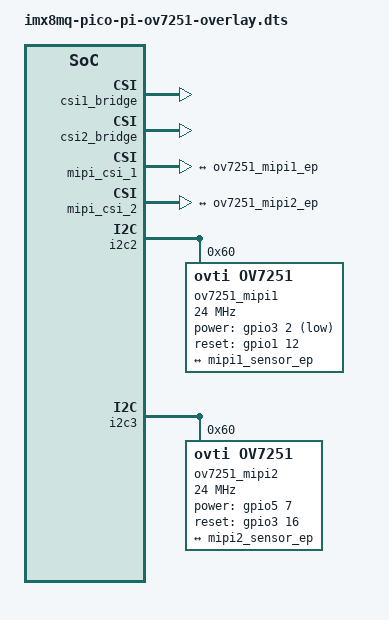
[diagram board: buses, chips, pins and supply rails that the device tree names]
/dts-v1/;
/plugin/;

#include "../imx8mq-pinfunc.h"
#include <dt-bindings/clock/imx8mq-clock.h>
#include <dt-bindings/interrupt-controller/irq.h>
#include <dt-bindings/input/input.h>
#include <dt-bindings/gpio/gpio.h>

/ {

	fragment@0 {
		target = <&csi1_bridge>;
		__overlay__ {
			status = "okay";
		};
	};

	fragment@1 {
		target = <&csi2_bridge>;
		__overlay__ {
			status = "okay";
		};
	};

	fragment@2 {
		target = <&mipi_csi_1>;
		__overlay__ {
			status = "okay";
			#address-cells = <1>;
			#size-cells = <0>;

			port {
				mipi1_sensor_ep: endpoint@0 {
					remote-endpoint = <&ov7251_mipi1_ep>;
					data-lanes = <1>;
					csis-hs-settle = <13>;
					csis-clk-settle = <2>;
					csis-wclk;
				};
			};
		};
	};

	fragment@3 {
		target = <&mipi_csi_2>;
		__overlay__ {
			status = "okay";
			#address-cells = <1>;
			#size-cells = <0>;

			port {
				mipi2_sensor_ep: endpoint@0 {
					remote-endpoint = <&ov7251_mipi2_ep>;
					data-lanes = <1>;
					csis-hs-settle = <13>;
					csis-clk-settle = <2>;
					csis-wclk;
				};
			};
		};
	};

	fragment@4 {
		target = <&i2c2>;
		__overlay__ {
			#address-cells = <1>;
			#size-cells = <0>;
			status = "okay";
			
			ov7251_mipi1: ov7251_mipi@60 {
			compatible = "ovti,ov7251";
			reg = <0x60>;
			status = "okay";

			pinctrl-names = "default";
				pinctrl-0 = <&pinctrl_csi1>;
				clocks = <&clk IMX8MQ_CLK_CLKO2>;
				clock-names = "xclk";
				clock-frequency = <24000000>;

			csi_id = <0>;
			power-gpios = <&gpio3 2 GPIO_ACTIVE_LOW>;
			reset-gpios = <&gpio1 12 GPIO_ACTIVE_HIGH>;

			port {
				ov7251_mipi1_ep: endpoint {
					data-lanes = <0>;
					remote-endpoint = <&mipi1_sensor_ep>;
				};
			};
		};
		};
	};

	fragment@5 {
		target = <&i2c3>;
		__overlay__ {
			#address-cells = <1>;
			#size-cells = <0>;
			status = "okay";

			ov7251_mipi2: ov7251_mipi2@60 {
				compatible = "ovti,ov7251";
				reg = <0x60>;
				status = "okay";

				pinctrl-names = "default";
				pinctrl-0 = <&pinctrl_csi2>;
				clocks = <&clk IMX8MQ_CLK_CLKO2>;
				clock-names = "xclk";
				clock-frequency = <24000000>;

				csi_id = <1>;
				power-gpios = <&gpio5 7 GPIO_ACTIVE_HIGH>;
				reset-gpios = <&gpio3 16 GPIO_ACTIVE_HIGH>;

				port {
					ov7251_mipi2_ep: endpoint {
						data-lanes = <0>;
						remote-endpoint = <&mipi2_sensor_ep>;
					};
				};
			};
		};
	};
};
